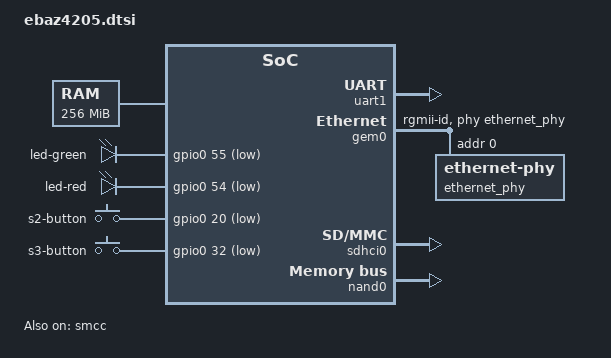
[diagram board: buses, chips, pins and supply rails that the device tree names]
/ {
        chosen {
                bootargs = "console=ttyPS0,115200 earlyprintk root=/dev/mmcblk0p2 rw uio_pdrv_genirq.of_id=generic-uio";
                stdout-path = "serial0:115200n8";
        };


        memory@0 {
                device_type = "memory";
                reg = <0x0 0x10000000>;
        };

	leds {
                compatible = "gpio-leds";

		led-green {
                        label = "led-green";
			gpios = <&gpio0 55 1>;
			default-state = "off";
                        linux,default-trigger = "heartbeat";
		};
		led-red {
                        label = "led-red";
			gpios = <&gpio0 54 1>;
			default-state = "off";
		};
        };

        buttons {
                compatible = "gpio-keys-polled";
                poll-interval = <100>;

                s2-button {
                        gpios = <&gpio0 20 1>;
                        label = "s2-button";
                        default-state = "keep";
                        linux,code = <106>;
                        autorepeat;
                };
                s3-button {
                        gpios = <&gpio0 32 1>;
                        label = "s3-button";
                        default-state = "keep";
                        linux,code = <105>;
                        autorepeat;
                };
        };
};

&uart1 {
       status = "okay";
};

&gem0 {
	status = "okay";
	phy-mode = "rgmii-id";
	phy-handle = <&ethernet_phy>;

	ethernet_phy: ethernet-phy@0 {
		reg = <0x0>;
	};
};

&sdhci0 {
        status = "okay";
};

&gpio0 {
        gpio-mask-low = <0x5600>;
};

&smcc {
	status = "okay";
	nand0: flash@e1000000 {
                status = "okay";
                nand-ecc-mode = "none";
                nand-bus-width = <8>;
                partitions {
        		compatible = "fixed-partitions";
        		#address-cells = <1>;
        		#size-cells = <1>;

                        partition0: partition@0 {
        		         label = "partition0";
                                 reg = <0x0000000 0x1ffffff>;
                        };
                        partition1: partition@2000000 {
        		         label = "partition1";
                                 reg = <0x2000000 0x3ffffff>;
                        };
                        partition2: partition@4000000 {
        		         label = "partition2";
                                 reg = <0x4000000 0x5ffffff>;
                        };
                        partition3: partition@6000000 {
        		         label = "partition3";
                                 reg = <0x6000000 0x7ffffff>;
                        };
                };
        };
};

&xadc_wiz_0 {
		xlnx,channels {
			#address-cells = <1>;
			#size-cells = <0>;
			channel@3 {
				reg = <3>;
			};
			channel@11 {
				reg = <11>;
			};
		};
};

&axi_mux_0 {

  signal-names = "gpio0.0", "gpio0.1", "gpio0.2", "gpio0.3",
                 "gpio0.4", "gpio0.5", "gpio0.6", "gpio0.7";
  alternate-names = "i2c0.sda", "i2c0.scl", "spi0.io0", "spi0.io1",
                    "spi0.ss", "tmr0.pwm_cap0", "tmr1.pwm_cap0", "tmr2.pwm_cap0";

};

&axi_mux_1 {

  signal-names = "gpio0.8", "gpio0.9", "gpio0.10", "gpio0.11",
                 "gpio0.12", "gpio0.13", "gpio0.14", "gpio0.15";
  alternate-names = "uart0.rxd", "uart0.txd", "uart1.rxd", "uart1.txd",
                    "i2c1.sda", "i2c1.scl", "tmr3.pwm_cap0", "tmr3.cap1";

};

&axi_timer_0 {
  clock-frequency = <100000000>;
};

&axi_timer_1 {
  clock-frequency = <100000000>;
};

&axi_timer_2 {
  clock-frequency = <100000000>;
};

&axi_timer_3 {
  clock-frequency = <100000000>;
};
